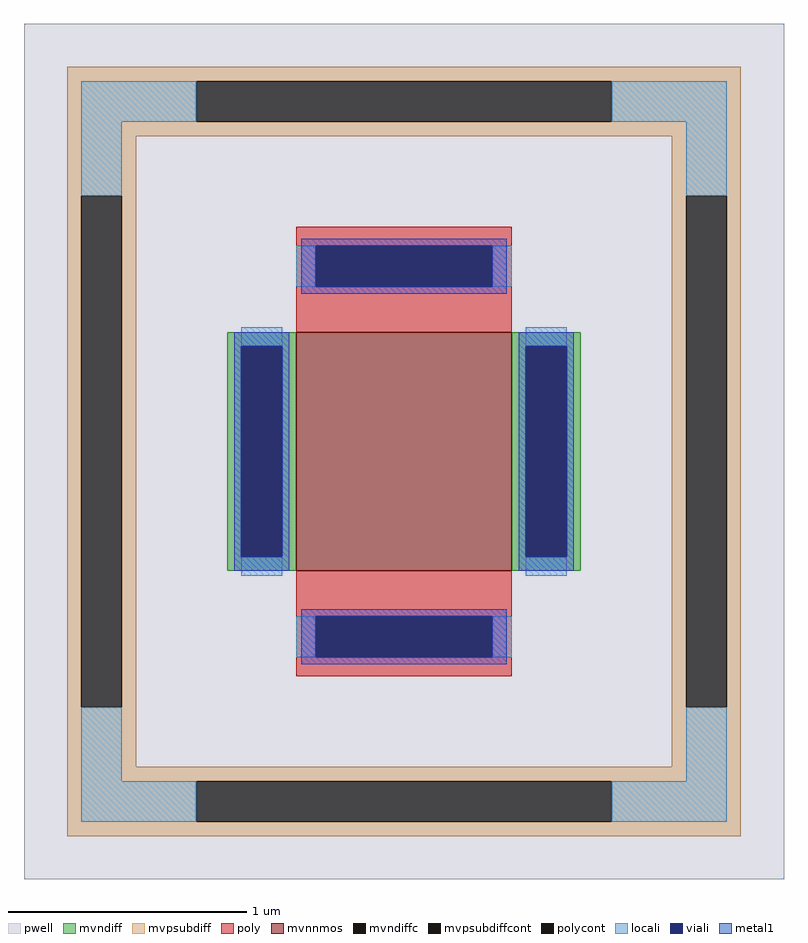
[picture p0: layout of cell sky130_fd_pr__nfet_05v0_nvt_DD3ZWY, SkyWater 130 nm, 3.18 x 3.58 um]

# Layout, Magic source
magic
tech sky130A
<< pwell >>
rect -159 -179 159 179
<< mvnnmos >>
rect -45 -50 45 50
<< mvndiff >>
rect -74 44 -45 50
rect -74 -44 -68 44
rect -51 -44 -45 44
rect -74 -50 -45 -44
rect 45 44 74 50
rect 45 -44 51 44
rect 68 -44 74 44
rect 45 -50 74 -44
<< mvndiffc >>
rect -68 -44 -51 44
rect 51 -44 68 44
<< mvpsubdiff >>
rect -141 155 141 161
rect -141 138 -87 155
rect 87 138 141 155
rect -141 132 141 138
rect -141 107 -112 132
rect -141 -107 -135 107
rect -118 -107 -112 107
rect 112 107 141 132
rect -141 -132 -112 -107
rect 112 -107 118 107
rect 135 -107 141 107
rect 112 -132 141 -107
rect -141 -138 141 -132
rect -141 -155 -87 -138
rect 87 -155 141 -138
rect -141 -161 141 -155
<< mvpsubdiffcont >>
rect -87 138 87 155
rect -135 -107 -118 107
rect 118 -107 135 107
rect -87 -155 87 -138
<< poly >>
rect -45 86 45 94
rect -45 69 -37 86
rect 37 69 45 86
rect -45 50 45 69
rect -45 -69 45 -50
rect -45 -86 -37 -69
rect 37 -86 45 -69
rect -45 -94 45 -86
<< polycont >>
rect -37 69 37 86
rect -37 -86 37 -69
<< locali >>
rect -135 138 -87 155
rect 87 138 135 155
rect -135 107 -118 138
rect 118 107 135 138
rect -45 69 -37 86
rect 37 69 45 86
rect -68 44 -51 52
rect -68 -52 -51 -44
rect 51 44 68 52
rect 51 -52 68 -44
rect -45 -86 -37 -69
rect 37 -86 45 -69
rect -135 -138 -118 -107
rect 118 -138 135 -107
rect -135 -155 -87 -138
rect 87 -155 135 -138
<< viali >>
rect -37 69 37 86
rect -68 -44 -51 44
rect 51 -44 68 44
rect -37 -86 37 -69
<< metal1 >>
rect -43 86 43 89
rect -43 69 -37 86
rect 37 69 43 86
rect -43 66 43 69
rect -71 44 -48 50
rect -71 -44 -68 44
rect -51 -44 -48 44
rect -71 -50 -48 -44
rect 48 44 71 50
rect 48 -44 51 44
rect 68 -44 71 44
rect 48 -50 71 -44
rect -43 -69 43 -66
rect -43 -86 -37 -69
rect 37 -86 43 -69
rect -43 -89 43 -86
<< properties >>
string FIXED_BBOX -126 -146 126 146
string gencell sky130_fd_pr__nfet_05v0_nvt
string library sky130
string parameters w 1.0 l 0.9 m 1 nf 1 diffcov 100 polycov 100 guard 1 glc 1 grc 1 gtc 1 gbc 1 tbcov 100 rlcov 100 topc 1 botc 1 poverlap 0 doverlap 1 lmin 0.90 wmin 0.42 compatible {sky130_fd_pr__nfet_01v8 sky130_fd_pr__nfet_01v8_lvt  sky130_fd_bs_flash__special_sonosfet_star  sky130_fd_pr__nfet_g5v0d10v5 sky130_fd_pr__nfet_05v0_nvt  sky130_fd_pr__nfet_03v3_nvt} full_metal 1 viasrc 100 viadrn 100 viagate 100 viagb 0 viagr 0 viagl 0 viagt 0
<< end >>
